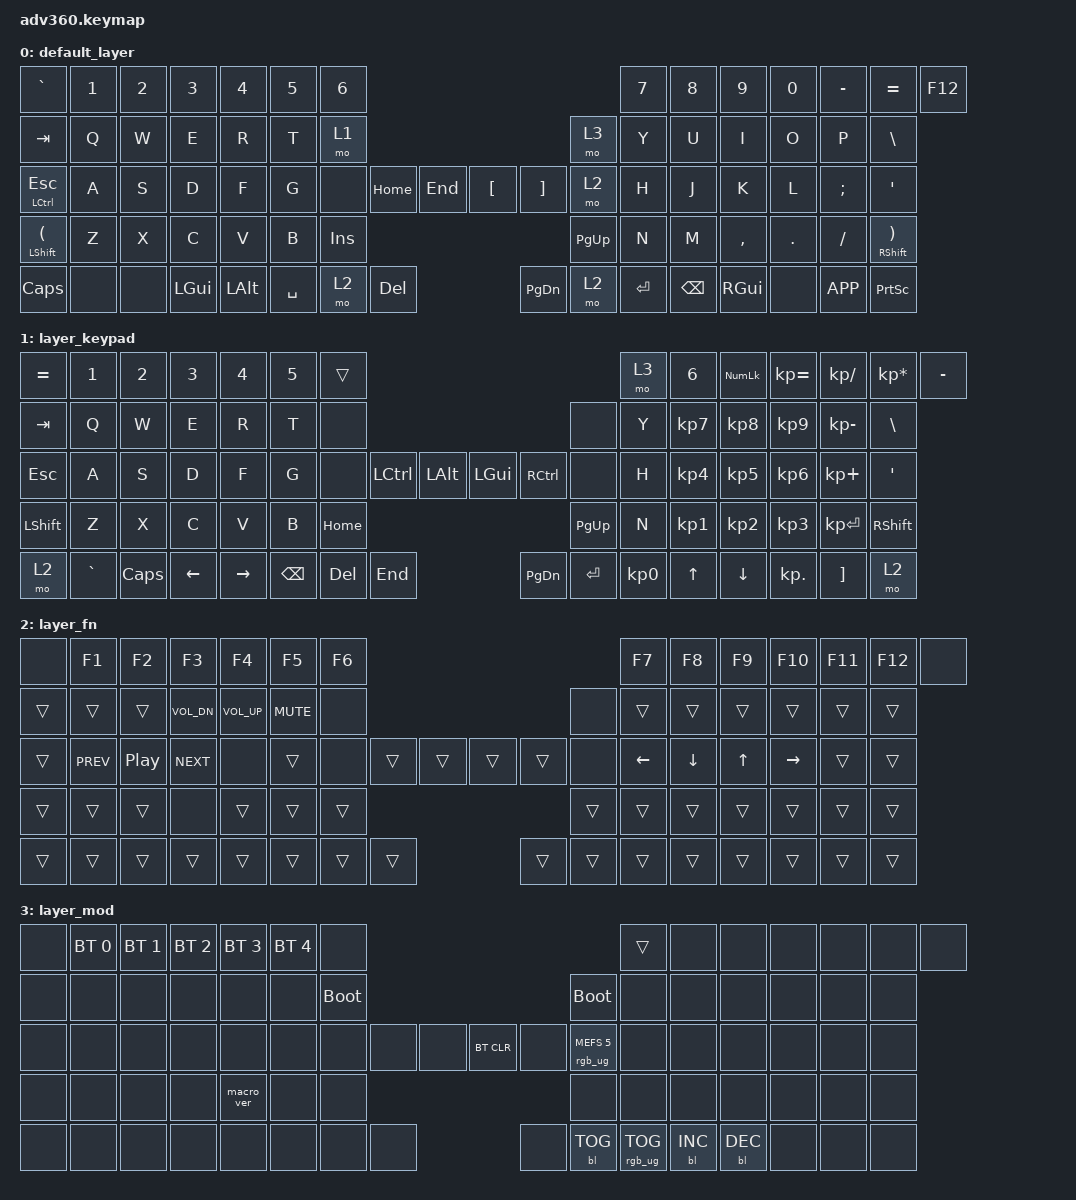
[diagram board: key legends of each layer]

/*
 * Copyright (c) 2020 The ZMK Contributors
 *
 * SPDX-License-Identifier: MIT
 */


/* THIS FILE WAS GENERATED!
 *
 * This file was generated automatically. You may or may not want to
 * edit it directly.
 */

#include <behaviors.dtsi>
#include <dt-bindings/zmk/keys.h>
#include <dt-bindings/zmk/bt.h>
#include <dt-bindings/zmk/rgb.h>
#include <dt-bindings/zmk/backlight.h>

/ {
  behaviors {
    #include "macros.dtsi"
    #include "version.dtsi"

    hm: homerow_mods {
        compatible = "zmk,behavior-hold-tap";
        label = "HOMEROW_MODS";
        #binding-cells = <2>;
        tapping-term-ms = <200>;
        quick_tap_ms = <175>;
        flavor = "tap-preferred";
        bindings = <&kp>, <&kp>;
    };
  };

    keymap {
        compatible = "zmk,keymap";


        default_layer {
            bindings = <
                       &kp GRAVE  &kp N1  &kp N2    &kp N3        &kp N4  &kp N5               &kp N6                                                                             &kp N7  &kp N8         &kp N9     &kp N0  &kp MINUS  &kp EQUAL                            &kp F12
                         &kp TAB   &kp Q   &kp W     &kp E         &kp R   &kp T                &mo 1                                                                              &mo 3   &kp Y          &kp U      &kp I      &kp O      &kp P                           &kp BSLH
                   &mt LCTRL ESC   &kp A   &kp S     &kp D         &kp F   &kp G                &none  &kp HOME  &kp END                  &kp LEFT_BRACKET  &kp RIGHT_BRACKET      &mo 2   &kp H          &kp J      &kp K      &kp L   &kp SEMI                            &kp SQT
 &mt LEFT_SHIFT LEFT_PARENTHESIS   &kp Z   &kp X     &kp C         &kp V   &kp B                                 &kp INS                         &kp PG_UP                                 &kp N          &kp M  &kp COMMA    &kp DOT   &kp FSLH  &mt RIGHT_SHIFT RIGHT_PARENTHESIS
                        &kp CAPS   &none   &none  &kp LGUI  &kp LEFT_ALT                    &kp SPACE     &mo 2  &kp DEL                         &kp PG_DN              &mo 2  &kp ENTER          &kp BACKSPACE   &kp RGUI      &none  &kp K_APP                    &kp PRINTSCREEN
            >;
        };

        layer_keypad {
            bindings = <
 &kp EQUAL     &kp N1    &kp N2    &kp N3     &kp N4  &kp N5              &trans                                                                 &mo 3  &kp N6  &kp KP_NUM  &kp KP_EQUAL  &kp KP_DIVIDE  &kp KP_MULTIPLY  &kp MINUS
   &kp TAB      &kp Q     &kp W     &kp E      &kp R   &kp T               &none                                                                 &none   &kp Y   &kp KP_N7     &kp KP_N8      &kp KP_N9     &kp KP_MINUS   &kp BSLH
   &kp ESC      &kp A     &kp S     &kp D      &kp F   &kp G               &none  &kp LCTRL  &kp LALT                   &kp LGUI  &kp RCTRL      &none   &kp H   &kp KP_N4     &kp KP_N5      &kp KP_N6      &kp KP_PLUS    &kp SQT
 &kp LSHFT      &kp Z     &kp X     &kp C      &kp V   &kp B                                 &kp HOME                  &kp PG_UP                         &kp N   &kp KP_N1     &kp KP_N2      &kp KP_N3     &kp KP_ENTER  &kp RSHFT
     &mo 2  &kp GRAVE  &kp CAPS  &kp LEFT  &kp RIGHT                    &kp BSPC    &kp DEL   &kp END                  &kp PG_DN  &kp ENTER  &kp KP_N0              &kp UP      &kp DOWN     &kp KP_DOT         &kp RBKT      &mo 2
            >;
        };

        layer_fn {
            bindings = <
  &none      &kp F1    &kp F2        &kp F3        &kp F4      &kp F5            &kp F6                                                  &kp F7          &kp F8          &kp F9       &kp F10          &kp F11  &kp F12   &none
 &trans      &trans    &trans  &kp C_VOL_DN  &kp C_VOL_UP  &kp C_MUTE             &none                                                   &none          &trans          &trans        &trans           &trans   &trans  &trans
 &trans  &kp C_PREV  &kp C_PP    &kp C_NEXT         &none      &trans             &none  &trans  &trans                  &trans  &trans   &none  &kp LEFT_ARROW  &kp DOWN_ARROW  &kp UP_ARROW  &kp RIGHT_ARROW   &trans  &trans
 &trans      &trans    &trans         &none        &trans      &trans                            &trans                  &trans                          &trans          &trans        &trans           &trans   &trans  &trans
 &trans      &trans    &trans        &trans        &trans                        &trans  &trans  &trans                  &trans  &trans  &trans                          &trans        &trans           &trans   &trans  &trans
            >;
        };

        layer_mod {
            bindings = <
  &none  &bt BT_SEL 0  &bt BT_SEL 1  &bt BT_SEL 2  &bt BT_SEL 3  &bt BT_SEL 4                  &none                                                                          &trans   &none       &none       &none   &none   &none   &none
  &none         &none         &none         &none         &none         &none            &bootloader                                                                     &bootloader   &none       &none       &none   &none   &none   &none
  &none         &none         &none         &none         &none         &none                  &none   &none   &none                  &bt BT_CLR       &none  &rgb_ug RGB_MEFS_CMD 5   &none       &none       &none   &none   &none   &none
  &none         &none         &none         &none    &macro_ver         &none                                  &none                       &none                                       &none       &none       &none   &none   &none   &none
  &none         &none         &none         &none         &none                                &none   &none   &none                       &none  &bl BL_TOG         &rgb_ug RGB_TOG          &bl BL_INC  &bl BL_DEC   &none   &none   &none
            >;
        };

    };
};
